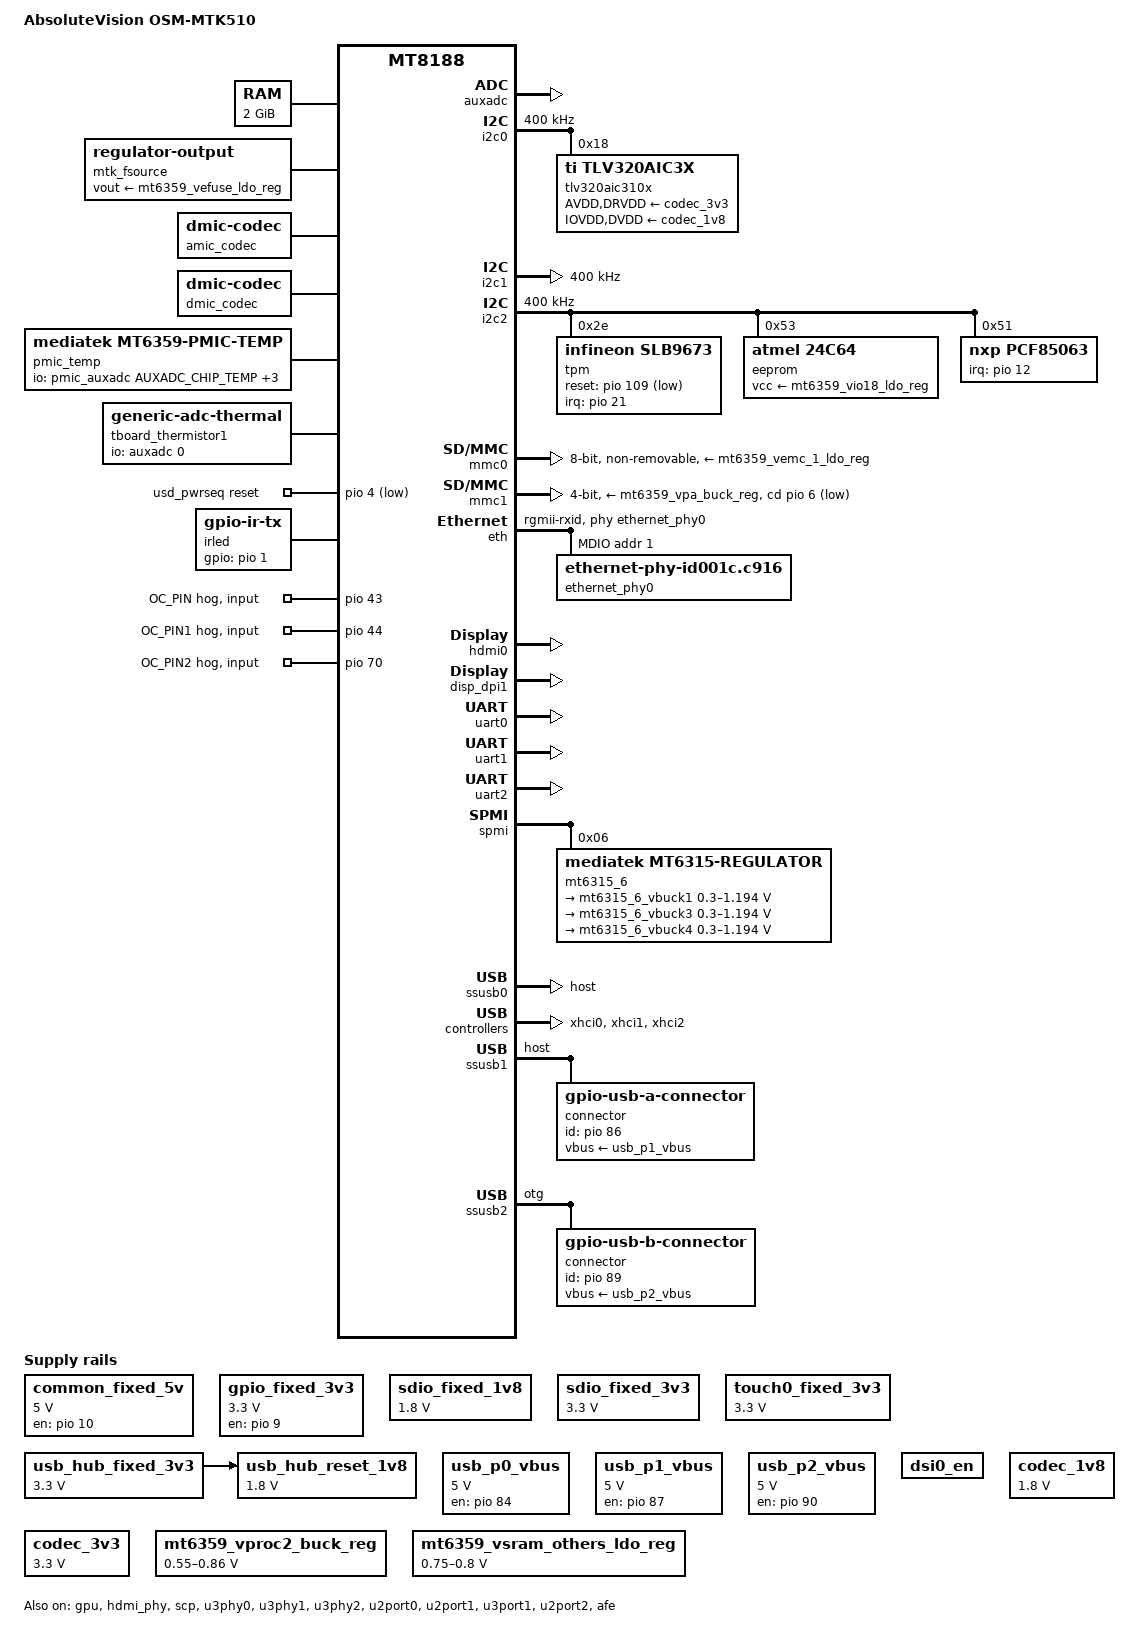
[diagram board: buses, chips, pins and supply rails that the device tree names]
// SPDX-License-Identifier: (GPL-2.0 OR MIT)
/*
 * Copyright (C) 2023 MediaTek Inc.
 * Author: Chris Chen <chris-qj.chen@mediatek.com>
 *	   Pablo Sun <pablo.sun@mediatek.com>
 *	   Macpaul Lin <macpaul.lin@mediatek.com>
 */
/dts-v1/;

#include "mt8370.dtsi"
#include "mt6359.dtsi"
#include <dt-bindings/gpio/gpio.h>
#include <dt-bindings/input/input.h>
#include <dt-bindings/interrupt-controller/irq.h>
#include <dt-bindings/pinctrl/mediatek,mt8188-pinfunc.h>
#include <dt-bindings/regulator/mediatek,mt6360-regulator.h>
#include <dt-bindings/spmi/spmi.h>
#include <dt-bindings/usb/pd.h>
#include <dt-bindings/iio/mt635x-auxadc.h>
#include <dt-bindings/net/ti-dp83867.h>

/ {
	model = "AbsoluteVision OSM-MTK510";
	compatible = "mediatek,mt8370-evk", "mediatek,mt8370",
		     "mediatek,mt8188";

	aliases {
		serial0 = &uart0;
		ethernet0 = &eth;
	        rtc0 = &pcf85063;
	        rtc1 = &mt6359rtc;
		dsi0 = &dsi0;
	};

	chosen {
		stdout-path = "serial0:921600n8";
	};

	firmware {
		optee {
			compatible = "linaro,optee-tz";
			method = "smc";
		};
	};

	memory@40000000 {
		device_type = "memory";
		reg = <0 0x40000000 0x0 0x80000000>;  //DDR 2G
	};

	reserved-memory {
		#address-cells = <2>;
		#size-cells = <2>;
		ranges;

		/*
		 * 12 MiB reserved for OP-TEE (BL32)
		 * +-----------------------+ 0x43e0_0000
		 * |      SHMEM 2MiB       |
		 * +-----------------------+ 0x43c0_0000
		 * |        | TA_RAM  8MiB |
		 * + TZDRAM +--------------+ 0x4340_0000
		 * |        | TEE_RAM 2MiB |
		 * +-----------------------+ 0x4320_0000
		 */
		optee_reserved: optee@43200000 {
			no-map;
			reg = <0 0x43200000 0 0x00c00000>;
		};

		scp_mem: memory@50000000 {
			compatible = "shared-dma-pool";
			reg = <0 0x50000000 0 0x2900000>;
			no-map;
		};

		/* 2 MiB reserved for ARM Trusted Firmware (BL31) */
		bl31_secmon_reserved: secmon@54600000 {
			no-map;
			reg = <0 0x54600000 0x0 0x200000>;
		};

		apu_mem: memory@55000000 {
			compatible = "shared-dma-pool";
			reg = <0 0x55000000 0 0x1400000>; /* 20 MB */
		};

		vpu_mem: memory@57000000 {
			compatible = "shared-dma-pool";
			reg = <0 0x57000000 0 0x1400000>; /* 20 MB */
		};

		/*
		 * 24 MiB reserved for Audio AFE and ADSP
		 * +-----------------------+ 0x6180_0000
		 * |  AFE DMA MEM     8MiB |
		 * +-----------------------+ 0x6100_0000
		 * |  ADSP DMA MEM    1MiB |
		 * +-----------------------+ 0x60f0_0000
		 * |  ADSP MEM       15MiB |
		 * +-----------------------+ 0x6000_0000
		 */

		adsp_mem_reserved: adsp-mem-region {
			compatible = "shared-dma-pool";
			reg = <0 0x60000000 0 0xf00000>;
			no-map;
		};

		adsp_dma_mem_reserved: adsp-dma-mem-region {
			compatible = "shared-dma-pool";
			reg = <0 0x60f00000 0 0x100000>;
			no-map;
		};

		afe_dma_mem_reserved: snd-dma-mem-region {
			compatible = "shared-dma-pool";
			reg = <0 0x61000000 0 0x800000>;
			no-map;
		};
	};

	common_fixed_5v: regulator-0 {
		compatible = "regulator-fixed";
		regulator-name = "5v_en";
		regulator-min-microvolt = <5000000>;
		regulator-max-microvolt = <5000000>;
		gpio = <&pio 10 GPIO_ACTIVE_HIGH>;
		enable-active-high;
		regulator-always-on;
	};

	gpio_fixed_3v3: regulator-2 {
		compatible = "regulator-fixed";
		regulator-name = "gpio_3v3_en";
		regulator-min-microvolt = <3300000>;
		regulator-max-microvolt = <3300000>;
		gpio = <&pio 9 GPIO_ACTIVE_HIGH>;
		enable-active-high;
		regulator-always-on;
	};

	sdio_fixed_1v8: regulator-3 {
		compatible = "regulator-fixed";
		regulator-name = "sdio_io";
		regulator-min-microvolt = <1800000>;
		regulator-max-microvolt = <1800000>;
		enable-active-high;
		regulator-always-on;
	};

	sdio_fixed_3v3: regulator-4 {
		compatible = "regulator-fixed";
		regulator-name = "sdio_card";
		regulator-min-microvolt = <3300000>;
		regulator-max-microvolt = <3300000>;
		enable-active-high;
		regulator-always-on;
	};

	mtk_fsource: mtk-fsource {
		compatible = "regulator-output";
		vout-supply = <&mt6359_vefuse_ldo_reg>;
	};

	touch0_fixed_3v3: regulator-5 {
		compatible = "regulator-fixed";
		regulator-name = "touch_3v3";
		regulator-min-microvolt = <3300000>;
		regulator-max-microvolt = <3300000>;
		enable-active-high;
	};

	usb_hub_fixed_3v3: regulator-6 {
		compatible = "regulator-fixed";
		regulator-name = "usb_hub_3v3";
		regulator-min-microvolt = <3300000>;
		regulator-max-microvolt = <3300000>;
		startup-delay-us = <10000>;
		enable-active-high;
	};

	usb_hub_reset_1v8: regulator-7 {
		compatible = "regulator-fixed";
		regulator-name = "usb_hub_reset";
		regulator-min-microvolt = <1800000>;
		regulator-max-microvolt = <1800000>;
		vin-supply = <&usb_hub_fixed_3v3>;
	};

	usb_p0_vbus: regulator-8 {
		compatible = "regulator-fixed";
		regulator-name = "usb_p0_vbus";
		regulator-min-microvolt = <5000000>;
		regulator-max-microvolt = <5000000>;
		gpio = <&pio 84 GPIO_ACTIVE_HIGH>;
		enable-active-high;
	};

	usb_p1_vbus: regulator-9 {
		compatible = "regulator-fixed";
		regulator-name = "usb_p1_vbus";
		regulator-min-microvolt = <5000000>;
		regulator-max-microvolt = <5000000>;
		gpio = <&pio 87 GPIO_ACTIVE_HIGH>;
		enable-active-high;
	};

	usb_p2_vbus: regulator-10 {
		compatible = "regulator-fixed";
		regulator-name = "usb_p2_vbus";
		regulator-min-microvolt = <5000000>;
		regulator-max-microvolt = <5000000>;
		gpio = <&pio 90 GPIO_ACTIVE_HIGH>;
		enable-active-high;
	};

	dsi0_en: dsi0-en {
		compatible = "regulator-fixed";
		regulator-name = "lcm1_en";
		enable-active-high;
	};

        codec_1v8: codec-1v8 {
                compatible = "regulator-fixed";
                regulator-name = "codec-1v8";
                regulator-min-microvolt = <1800000>;
                regulator-max-microvolt = <1800000>;
                regulator-boot-on;
                regulator-always-on;
                enable-active-high;
        };

        codec_3v3: codec-3v3 {
                compatible = "regulator-fixed";
                regulator-name = "codec-3v3";
                regulator-min-microvolt = <3300000>;
                regulator-max-microvolt = <3300000>;
                regulator-boot-on;
                regulator-always-on;
                enable-active-high;
        };

	amic_codec: amic-codec {
		#sound-dai-cells = <0>;
		compatible = "dmic-codec";
		num-channels = <2>;
		wakeup-delay-ms = <200>;
	};

	dmic_codec: dmic-codec {
		#sound-dai-cells = <0>;
		compatible = "dmic-codec";
		num-channels = <2>;
		wakeup-delay-ms = <30>;
	};

	pmic_temp: pmic-temp {
		compatible = "mediatek,mt6359-pmic-temp";
		io-channels =
			<&pmic_auxadc AUXADC_CHIP_TEMP>,
			<&pmic_auxadc AUXADC_VCORE_TEMP>,
			<&pmic_auxadc AUXADC_VPROC_TEMP>,
			<&pmic_auxadc AUXADC_VGPU_TEMP>;
		io-channel-names =
			"pmic_chip_temp",
			"pmic_buck1_temp",
			"pmic_buck2_temp",
			"pmic_buck3_temp";

		#thermal-sensor-cells = <1>;
		nvmem-cells = <&thermal_efuse_data1>;
		nvmem-cell-names = "e_data1";
	};

	tboard_thermistor1: tboard-thermistor1 {
		compatible = "generic-adc-thermal";
		#thermal-sensor-cells = <0>;
		io-channels = <&auxadc 0>;
		io-channel-names = "sensor-channel";
		temperature-lookup-table = <    (-5000) 985
						0 860
						5000 740
						10000 629
						15000 530
						20000 442
						25000 367
						30000 304
						35000 251
						40000 207
						45000 171
						50000 141
						55000 117
						60000 97
						65000 81
						70000 67
						75000 56
						80000 47
						85000 40
						90000 34
						95000 29
						100000 25
						105000 21
						110000 18
						115000 15
						120000 13
						125000 12>;
	};

	usd_pwrseq: usd-pwrseq {
        	compatible = "mmc-pwrseq-simple";
		status = "okay";
		pinctrl-names = "default";
		pinctrl-0 = <&usd_pins_pwrseq>;
		reset-gpios = <&pio 4 1>;
		post-power-on-delay-ms = <200>;
	};

    irled: irled {
        compatible = "gpio-ir-tx";
        gpios = <&pio 1 GPIO_ACTIVE_HIGH>;
    };

};

&efuse {
		/* Serial Number */
		sn_part0: efuse-c_dat0 {
			 reg = <0x510 0x4>;
		};

		sn_part1: efuse-c_dat1 {
			 reg = <0x514 0x4>;
		};
		/* MAC address */
		mac_part0: efuse-c_dat2 {
			 reg = <0x518 0x4>;
		};

		mac_part1: efuse-c_dat3 {
			 reg = <0x51c 0x4>;
		};
};

&thermal_zones {
	ap-ntc {
		polling-delay = <1000>; /* milliseconds */
		polling-delay-passive = <0>; /* milliseconds */
		thermal-sensors = <&tboard_thermistor1>;

		trips {
			ap_ntc_crit: ap-ntc-crit {
				temperature = <120000>;
				hysteresis = <2000>;
				type = "critical";
			};
		};
	};
	pmic-temp {
		polling-delay = <1000>; /* milliseconds */
		polling-delay-passive = <1000>; /* milliseconds */
		thermal-sensors = <&pmic_temp 0>;

		trips {
			pmic_temp_crit: pmic-temp-crit@0 {
				temperature = <130000>;
				hysteresis = <2000>;
				type = "critical";
			};
		};
	};
	pmic-vcore {
		polling-delay = <0>; /* milliseconds */
		polling-delay-passive = <0>; /* milliseconds */
		thermal-sensors = <&pmic_temp 1>;
		trips {
			pmic_vcore_crit: pmic-vcore-crit {
				temperature = <130000>;
				hysteresis = <2000>;
				type = "critical";
			};
		};
	};
	pmic-vproc {
		polling-delay = <0>; /* milliseconds */
		polling-delay-passive = <0>; /* milliseconds */
		thermal-sensors = <&pmic_temp 2>;
		trips {
			pmic_vproc_crit: pmic-vproc-crit {
				temperature = <130000>;
				hysteresis = <2000>;
				type = "critical";
			};
		};
	};
	pmic-vgpu {
		polling-delay = <0>; /* milliseconds */
		polling-delay-passive = <0>; /* milliseconds */
		thermal-sensors = <&pmic_temp 3>;
		trips {
			pmic_vgpu_crit: pmic-vgpu-crit {
				temperature = <130000>;
				hysteresis = <2000>;
				type = "critical";
			};
		};
	};
};

&auxadc {
	status = "okay";
};

&gpu {
	mali-supply = <&mt6359_vproc2_buck_reg>;
	status = "okay";
};

&i2c0 {
	pinctrl-names = "default";
	pinctrl-0 = <&i2c0_pin>;
	clock-frequency = <400000>;
	status = "okay";

	tlv320aic310x: tlv320aic310x@18 {
		compatible = "ti,tlv320aic3x";
		#sound-dai-cells = <0>;
		reg = <0x18>;
		AVDD-supply = <&codec_3v3>;
		IOVDD-supply = <&codec_1v8>;
		DRVDD-supply = <&codec_3v3>;
		DVDD-supply = <&codec_1v8>;
		status = "okay";
	};

};

&i2c1 {
	pinctrl-names = "default";
	pinctrl-0 = <&i2c1_pin>;
	clock-frequency = <400000>;
	status = "okay";
};

&i2c2 {
	pinctrl-names = "default";
	pinctrl-0 = <&i2c2_pin>;
	clock-frequency = <400000>;
	status = "okay";

    /* TPM - ST33TPHF2XI2C U1601 */
    st33tphf2xi2c@2e {
        #gpio-cells = <2>;
        #interrupt-cells = <2>;
        compatible = "infineon,slb9673";
        reg = <0x2e>;
        label = "tpm";
        pinctrl-names = "default";
        pinctrl-0 = <&tpm_pins>;
        interrupt-parent = <&pio>;
        interrupts = <21 IRQ_TYPE_LEVEL_LOW>;
        reset-gpio = <&pio 109 GPIO_ACTIVE_LOW>;
        status = "okay";
    };


	/* EEPROM M24C64 U1503 */
    eeprom: 24c64@53 {
		compatible = "atmel,24c64";
		reg = <0x53>;
		pagesize = <32>;
		vcc-supply = <&mt6359_vio18_ldo_reg>;
		/* mac_part0: mac-part0 { */
		/*       reg = <0x0 0x4>; */
		
	};

	/* PCF85063ATT U1701 */
	pcf85063: rtc@51 {
		compatible = "nxp,pcf85063";
		reg = <0x51>;
        	quartz-load-femtofarads = <12500>;
		interrupts-extended = <&pio 12 IRQ_TYPE_LEVEL_LOW>;
	};


};

&mfg0 {
	domain-supply = <&mt6359_vproc2_buck_reg>;
};

&mfg1 {
	domain-supply = <&mt6359_vsram_others_ldo_reg>;
};

&mmc0 {
	status = "okay";
	pinctrl-names = "default", "state_uhs";
	pinctrl-0 = <&mmc0_pins_default>;
	pinctrl-1 = <&mmc0_pins_uhs>;
	bus-width = <8>;
	max-frequency = <200000000>;
	cap-mmc-highspeed;
	mmc-hs200-1_8v;
	mmc-hs400-1_8v;
	supports-cqe;
	cap-mmc-hw-reset;
	no-sdio;
	no-sd;
	hs400-ds-delay = <0x1481b>;
	vmmc-supply = <&mt6359_vemc_1_ldo_reg>;
	vqmmc-supply = <&mt6359_vufs_ldo_reg>;
	non-removable;
};

&mmc1 {
	status = "okay";
	pinctrl-names = "default", "state_uhs";
	pinctrl-0 = <&mmc1_pins_default>;
	pinctrl-1 = <&mmc1_pins_uhs>;
	bus-width = <4>;
	max-frequency = <200000000>;
	cap-sd-highspeed;
	sd-uhs-sdr50;
	sd-uhs-sdr104;
	no-mmc;
	no-sdio;
	cd-gpios = <&pio 6 GPIO_ACTIVE_LOW>;
	mmc-pwrseq = <&usd_pwrseq>;
	vmmc-supply = <&mt6359_vpa_buck_reg>;
	vqmmc-supply = <&mt6359_vsim1_ldo_reg>;
};

&mt6359_vbbck_ldo_reg {
	regulator-always-on;
};

&mt6359_vcn18_ldo_reg {
	regulator-always-on;
};

&mt6359_vcn33_2_bt_ldo_reg {
	regulator-always-on;
};

&mt6359_vcore_buck_reg {
	regulator-always-on;
};

&mt6359_vgpu11_buck_reg {
	regulator-always-on;
};

&mt6359_vmodem_buck_reg {
	regulator-always-on;
};

&mt6359_vpa_buck_reg {
	regulator-max-microvolt = <3100000>;
};

&mt6359_vproc2_buck_reg {
	/* The name "vgpu" is required by mtk-regulator-coupler */
	regulator-name = "vgpu";
	regulator-min-microvolt = <550000>;
	regulator-max-microvolt = <860000>;
	regulator-coupled-with = <&mt6359_vsram_others_ldo_reg>;
	regulator-coupled-max-spread = <6250>;
};

&mt6359_vpu_buck_reg {
	regulator-always-on;
};

&mt6359_vrf12_ldo_reg {
	regulator-always-on;
};

&mt6359_vsim1_ldo_reg {
	regulator-enable-ramp-delay = <480>;
};

&mt6359_vsram_others_ldo_reg {
	/* The name "vsram_gpu" is required by mtk-regulator-coupler */
	regulator-name = "vsram_gpu";
	regulator-min-microvolt = <750000>;
	regulator-max-microvolt = <800000>;
	regulator-coupled-with = <&mt6359_vproc2_buck_reg>;
	regulator-coupled-max-spread = <6250>;
};

&mt6359_vsram_md_ldo_reg {
	regulator-always-on;
};

&mt6359_vufs_ldo_reg {
	regulator-always-on;
};

&mt6359codec {
	mediatek,mic-type-0 = <1>; /* ACC */
	mediatek,mic-type-1 = <3>; /* DCC */
};

&eth {
	phy-mode ="rgmii-rxid";
	phy-handle = <&ethernet_phy0>;
	/* snps,reset-gpio = <&pio 13 GPIO_ACTIVE_HIGH>; */
	/* snps,reset-delay-us = <0 10000 10000>; */
	mediatek,tx-delay-ps = <2030>;
	mediatek,mac-wol;
	pinctrl-names = "default", "sleep";
	pinctrl-0 = <&eth_default_pins>;
	pinctrl-1 = <&eth_sleep_pins>;
	nvmem-cells = <&mac_part0 &mac_part1>;
	nvmem-cell-names = "mac-part0", "mac-part1";
	status = "okay";

	mdio {
		compatible = "snps,dwmac-mdio";
		#address-cells = <1>;
		#size-cells = <0>;
		ethernet_phy0: ethernet-phy@1 {
			compatible = "ethernet-phy-id001c.c916";
			reg = <0x1>;
		};
	};
};
&dp_intf1 {
        status = "disabled";
        mediatek,oob-hpd;
        ports {
                port {
                        dp_intf1_out: endpoint {
                                remote-endpoint = <&dptx_in>;
                        };
                };
        };
};

&dp_tx {
        status = "disabled";

        ports {
                #address-cells = <1>;
                #size-cells = <0>;
                port@0 {
                        reg = <0>;
                        dptx_in: endpoint {
                                remote-endpoint = <&dp_intf1_out>;
                        };
                };

                port@1 {
                        reg = <1>;
                        dptx_out: endpoint {
                                data-lanes = <0 1 2 3>;
                        };
                };
        };
};


&dmic_codec {
	wakeup-delay-ms = <200>;
};

&hdmi0 {
	status = "okay";
};

&hdmi_phy {
	status = "okay";
};
&dsi0 {
        #address-cells = <1>;
        #size-cells = <0>;
        status = "disabled";
        poweron-in-hs-mode = <0>;

        panel@0 {
                compatible = "startek,kd070fhfid078";
                status = "disabled";
                reg = <0>;
                port {
                        panel0_in: endpoint {
                                remote-endpoint = <&dsi0_out>;
                        };
                };
        };

        ports {
                port {
                        dsi0_out: endpoint {
                                remote-endpoint = <&panel0_in>;
                        };
                };
        };
};

&disp_pwm1 {
        status = "disabled";
};

&disp_dpi1 {
        status = "okay";
};
&pio {
	oc_pin {
			gpio-hog;
			gpios = <43 GPIO_ACTIVE_HIGH>;
			input;
			bias-pull-up;
			line-name = "OC_PIN";
	};

	oc_pin1 {
			gpio-hog;
			gpios = <44 GPIO_ACTIVE_HIGH>;
			input;
			bias-pull-up;
			line-name = "OC_PIN1";
	};

	oc_pin2 {
			gpio-hog;
			gpios = <70 GPIO_ACTIVE_HIGH>;
			input;
			bias-pull-up;
			line-name = "OC_PIN2";
	};

	aud_pins_default: audiodefault {
		pins-cmd-dat {
			pinmux = <PINMUX_GPIO101__FUNC_O_AUD_CLK_MOSI>,
				 <PINMUX_GPIO102__FUNC_O_AUD_SYNC_MOSI>,
				 <PINMUX_GPIO103__FUNC_O_AUD_DAT_MOSI0>,
				 <PINMUX_GPIO104__FUNC_O_AUD_DAT_MOSI1>,
				 <PINMUX_GPIO105__FUNC_I0_AUD_DAT_MISO0>,
				 <PINMUX_GPIO106__FUNC_I0_AUD_DAT_MISO1>,
				 <PINMUX_GPIO110__FUNC_I0_I2SIN_D0>,
				 <PINMUX_GPIO114__FUNC_O_I2SO2_MCK>,
				 <PINMUX_GPIO115__FUNC_B0_I2SO2_BCK>,
				 <PINMUX_GPIO116__FUNC_B0_I2SO2_WS>,
				 <PINMUX_GPIO117__FUNC_O_I2SO2_D0>;
				
		};
	};

	eth_default_pins: eth-default-pins {			
		pins-txd {
			pinmux = <PINMUX_GPIO131__FUNC_O_GBE_TXD3>,
				 <PINMUX_GPIO132__FUNC_O_GBE_TXD2>,
				 <PINMUX_GPIO133__FUNC_O_GBE_TXD1>,
				 <PINMUX_GPIO134__FUNC_O_GBE_TXD0>;
			drive-strength = <MTK_DRIVE_8mA>;
		};
		pins-cc {
			pinmux = <PINMUX_GPIO139__FUNC_B0_GBE_TXC>,
				 <PINMUX_GPIO142__FUNC_O_GBE_TXEN>,
				 <PINMUX_GPIO141__FUNC_I0_GBE_RXDV>,
				 <PINMUX_GPIO140__FUNC_I0_GBE_RXC>;
			drive-strength = <MTK_DRIVE_8mA>;
		};
		pins-rxd {
			pinmux = <PINMUX_GPIO135__FUNC_I0_GBE_RXD3>,
				 <PINMUX_GPIO136__FUNC_I0_GBE_RXD2>,
				 <PINMUX_GPIO137__FUNC_I0_GBE_RXD1>,
				 <PINMUX_GPIO138__FUNC_I0_GBE_RXD0>;
			drive-strength = <MTK_DRIVE_8mA>;
		};
		pins-mdio {
			pinmux = <PINMUX_GPIO143__FUNC_O_GBE_MDC>,
				 <PINMUX_GPIO144__FUNC_B1_GBE_MDIO>;
			drive-strength = <MTK_DRIVE_8mA>;
			input-enable;
		};
		phy_reset_pin {									
			pinmux = <PINMUX_GPIO13__FUNC_B_GPIO13>; 
            output-high;
		};
		phy_intr_pin {									
			pinmux = <PINMUX_GPIO14__FUNC_B_GPIO14>;
		};
	};

	eth_sleep_pins: eth-sleep-pins {
		pins-txd {
			pinmux = <PINMUX_GPIO131__FUNC_B_GPIO131>,
				 <PINMUX_GPIO132__FUNC_B_GPIO132>,
				 <PINMUX_GPIO133__FUNC_B_GPIO133>,
				 <PINMUX_GPIO134__FUNC_B_GPIO134>;
		};
		pins-cc {
			pinmux = <PINMUX_GPIO139__FUNC_B_GPIO139>,
				 <PINMUX_GPIO142__FUNC_B_GPIO142>,
				 <PINMUX_GPIO141__FUNC_B_GPIO141>,
				 <PINMUX_GPIO140__FUNC_B_GPIO140>;
		};
		pins-rxd {
			pinmux = <PINMUX_GPIO135__FUNC_B_GPIO135>,
				 <PINMUX_GPIO136__FUNC_B_GPIO136>,
				 <PINMUX_GPIO137__FUNC_B_GPIO137>,
				 <PINMUX_GPIO138__FUNC_B_GPIO138>;
		};
		pins-mdio {
			pinmux = <PINMUX_GPIO143__FUNC_B_GPIO143>,
				 <PINMUX_GPIO144__FUNC_B_GPIO144>;
			input-disable;
			bias-disable;
		};
	};

	uart0_pins: uart0-pins {
		pins {
			pinmux = <PINMUX_GPIO31__FUNC_O_UTXD0>,
				 <PINMUX_GPIO32__FUNC_I1_URXD0>;
			bias-pull-up;
		};
	};

	uart1_pins: uart1-pins {
		pins {
			pinmux = <PINMUX_GPIO33__FUNC_O_UTXD1>,
				 <PINMUX_GPIO34__FUNC_I1_URXD1>;
			bias-pull-up;
		};
	};

    uart2_pins: uart2-pins {
        pins {
            pinmux = <PINMUX_GPIO35__FUNC_O_UTXD2>,
                 <PINMUX_GPIO36__FUNC_I1_URXD2>;
            bias-pull-up;
        };
    };

	i2c0_pin: i2c0-pin {
		pins-bus {
			pinmux = <PINMUX_GPIO56__FUNC_B1_SDA0>,
				 <PINMUX_GPIO55__FUNC_B1_SCL0>;
			bias-pull-up = <MTK_PULL_SET_RSEL_011>;
			mediatek,drive-strength-adv = <7>;
		};
	};

	i2c1_pin: i2c1-pin {
		pins-bus {
			pinmux = <PINMUX_GPIO58__FUNC_B1_SDA1>,
				 <PINMUX_GPIO57__FUNC_B1_SCL1>;
			bias-pull-up = <MTK_PULL_SET_RSEL_011>;
			mediatek,drive-strength-adv = <7>;
		};
	};

	i2c2_pin: i2c2-pin {
		pins-bus {
			pinmux = <PINMUX_GPIO60__FUNC_B1_SDA2>,
				 <PINMUX_GPIO59__FUNC_B1_SCL2>;
			bias-pull-up = <MTK_PULL_SET_RSEL_011>;
			mediatek,drive-strength-adv = <7>;
		};
	};

    tpm_pins: tpm-pins {
        pins-rst {
            pinmux = <PINMUX_GPIO109__FUNC_B_GPIO109>;
            output-high;
        };
        pins-intr {
            pinmux = <PINMUX_GPIO21__FUNC_B_GPIO21>;
            
        };
    };

	usd_pins_pwrseq: usdpwrseq {
		pins-usd-enable {
			pinmux = <PINMUX_GPIO4__FUNC_B_GPIO4>;
			output-low;
		};
	};

	mmc0_pins_default: mmc0default {
		pins-cmd-dat {
			pinmux = <PINMUX_GPIO161__FUNC_B1_MSDC0_DAT0>,
				 <PINMUX_GPIO160__FUNC_B1_MSDC0_DAT1>,
				 <PINMUX_GPIO159__FUNC_B1_MSDC0_DAT2>,
				 <PINMUX_GPIO158__FUNC_B1_MSDC0_DAT3>,
				 <PINMUX_GPIO154__FUNC_B1_MSDC0_DAT4>,
				 <PINMUX_GPIO153__FUNC_B1_MSDC0_DAT5>,
				 <PINMUX_GPIO152__FUNC_B1_MSDC0_DAT6>,
				 <PINMUX_GPIO151__FUNC_B1_MSDC0_DAT7>,
				 <PINMUX_GPIO156__FUNC_B1_MSDC0_CMD>;
			input-enable;
			drive-strength = <MTK_DRIVE_6mA>;
			bias-pull-up = <MTK_PUPD_SET_R1R0_01>;
		};

		pins-clk {
			pinmux = <PINMUX_GPIO157__FUNC_B1_MSDC0_CLK>;
			drive-strength = <MTK_DRIVE_6mA>;
			bias-pull-down = <MTK_PUPD_SET_R1R0_10>;
		};

		pins-rst {
			pinmux = <PINMUX_GPIO155__FUNC_O_MSDC0_RSTB>;
			drive-strength = <MTK_DRIVE_6mA>;
			bias-pull-up = <MTK_PUPD_SET_R1R0_01>;
		};
	};

	mmc0_pins_uhs: mmc0uhs{
		pins-cmd-dat {
			pinmux = <PINMUX_GPIO161__FUNC_B1_MSDC0_DAT0>,
				 <PINMUX_GPIO160__FUNC_B1_MSDC0_DAT1>,
				 <PINMUX_GPIO159__FUNC_B1_MSDC0_DAT2>,
				 <PINMUX_GPIO158__FUNC_B1_MSDC0_DAT3>,
				 <PINMUX_GPIO154__FUNC_B1_MSDC0_DAT4>,
				 <PINMUX_GPIO153__FUNC_B1_MSDC0_DAT5>,
				 <PINMUX_GPIO152__FUNC_B1_MSDC0_DAT6>,
				 <PINMUX_GPIO151__FUNC_B1_MSDC0_DAT7>,
				 <PINMUX_GPIO156__FUNC_B1_MSDC0_CMD>;
			input-enable;
			drive-strength = <MTK_DRIVE_8mA>;
			bias-pull-up = <MTK_PUPD_SET_R1R0_01>;
		};

		pins-clk {
			pinmux = <PINMUX_GPIO157__FUNC_B1_MSDC0_CLK>;
			drive-strength = <MTK_DRIVE_8mA>;
			bias-pull-down = <MTK_PUPD_SET_R1R0_10>;
		};

		pins-ds {
			pinmux = <PINMUX_GPIO162__FUNC_B0_MSDC0_DSL>;
			drive-strength = <MTK_DRIVE_8mA>;
			bias-pull-down = <MTK_PUPD_SET_R1R0_10>;
		};

		pins-rst {
			pinmux = <PINMUX_GPIO155__FUNC_O_MSDC0_RSTB>;
			drive-strength = <MTK_DRIVE_8mA>;
			bias-pull-up = <MTK_PUPD_SET_R1R0_01>;
		};
	};

	mmc1_pins_default: mmc1default {
		pins-cmd-dat {
			pinmux = <PINMUX_GPIO163__FUNC_B1_MSDC1_CMD>,
				 <PINMUX_GPIO165__FUNC_B1_MSDC1_DAT0>,
				 <PINMUX_GPIO166__FUNC_B1_MSDC1_DAT1>,
				 <PINMUX_GPIO167__FUNC_B1_MSDC1_DAT2>,
				 <PINMUX_GPIO168__FUNC_B1_MSDC1_DAT3>;
			input-enable;
			drive-strength = <MTK_DRIVE_10mA>;
			bias-pull-up = <MTK_PUPD_SET_R1R0_01>;
		};

		pins-clk {
			pinmux = <PINMUX_GPIO164__FUNC_B1_MSDC1_CLK>;
			drive-strength = <MTK_DRIVE_10mA>;
			bias-pull-down = <MTK_PUPD_SET_R1R0_10>;
		};

		pins-insert {
			pinmux = <PINMUX_GPIO6__FUNC_B_GPIO6>;
			bias-pull-up;
		};

		pins-wp {
			pinmux = <PINMUX_GPIO5__FUNC_B_GPIO5>;
			input-enable;
			bias-pull-up;
		};

	};

	mmc1_pins_uhs: mmc1uhs {
		pins-cmd-dat {
			pinmux = <PINMUX_GPIO163__FUNC_B1_MSDC1_CMD>,
				 <PINMUX_GPIO165__FUNC_B1_MSDC1_DAT0>,
				 <PINMUX_GPIO166__FUNC_B1_MSDC1_DAT1>,
				 <PINMUX_GPIO167__FUNC_B1_MSDC1_DAT2>,
				 <PINMUX_GPIO168__FUNC_B1_MSDC1_DAT3>;
			input-enable;
			drive-strength = <MTK_DRIVE_6mA>;
			bias-pull-up = <MTK_PUPD_SET_R1R0_01>;
		};

		pins-clk {
			pinmux = <PINMUX_GPIO164__FUNC_B1_MSDC1_CLK>;
			drive-strength = <MTK_DRIVE_6mA>;
			bias-pull-down = <MTK_PUPD_SET_R1R0_10>;
		};

	};

	usb_default: usbdefault {
		iddig-pin {
			pinmux = <PINMUX_GPIO83__FUNC_B_GPIO83>;
			input-enable;
			bias-pull-up;
		};

		vbus-pins {
			pinmux = <PINMUX_GPIO84__FUNC_O_USB_DRVVBUS>;
			output-high;
		};

		valid-pin {
			pinmux = <PINMUX_GPIO85__FUNC_I0_VBUSVALID>;
			input-enable;
			bias-pull-up;
		};

	};

	usb1_default: usbp1default {
		iddig-pin {
			pinmux = <PINMUX_GPIO86__FUNC_B_GPIO86>;
			input-enable;
			bias-pull-up;
		};

		vbus-pins {
			pinmux = <PINMUX_GPIO87__FUNC_O_USB_DRVVBUS_1P>;
			output-high;
		};
	
		valid_pin {
			pinmux = <PINMUX_GPIO88__FUNC_I0_VBUSVALID_1P>;
			input-enable;
			bias-pull-up;
		};

	};

	usb2_default: usbp2default {
		iddig-pin {
			pinmux = <PINMUX_GPIO89__FUNC_B_GPIO89>;
			input-enable;
			bias-pull-up;
		};

		vbus-pins {
			pinmux = <PINMUX_GPIO90__FUNC_O_USB_DRVVBUS_2P>;
			output-high;
		};

		valid-pin {
			pinmux = <PINMUX_GPIO91__FUNC_I0_VBUSVALID_2P>;
			input-enable;
			bias-pull-up;
		};

	};

};


&pmic {
	interrupt-parent = <&pio>;
	interrupts = <222 IRQ_TYPE_LEVEL_HIGH>;

	pmic_key: pmic-key {
		compatible = "mediatek,mt6359-keys";
		mediatek,long-press-mode = <1>;
		power-off-time-sec = <0>;

		power-key{
			linux,keycodes = <116>;
			wakeup-source;
		};

		home-key{
			linux,keycodes = <114>;
		};
	};
};

&scp {
	memory-region = <&scp_mem>;
	status = "okay";
	firmware-name = "mediatek/mt8188/scp.img";
};

&uart0 {
	pinctrl-0 = <&uart0_pins>;
	pinctrl-names = "default";
	status = "okay";
};

&uart1 {
	pinctrl-0 = <&uart1_pins>;
	pinctrl-names = "default";
	status = "okay";
};

&uart2 {
	pinctrl-0 = <&uart2_pins>;
	pinctrl-names = "default";
	status = "okay";
};

&mipi_tx0 {
	status = "disabled";
};


&spmi {
	#address-cells = <2>;
	#size-cells = <0>;

	mt6315_6: mt6315@6 {
		compatible = "mediatek,mt6315-regulator";
		reg = <0x6 SPMI_USID>;

		regulators {
			mt6315_6_vbuck1: vbuck1 {
				regulator-compatible = "vbuck1";
				regulator-name = "Vbcpu";
				regulator-min-microvolt = <300000>;
				regulator-max-microvolt = <1193750>;
				regulator-enable-ramp-delay = <256>;
				regulator-allowed-modes = <0 1 2>;
				regulator-always-on;
				mtk,combined-regulator = <2>;
			};
			mt6315_6_vbuck3: vbuck3 {
				regulator-compatible = "vbuck3";
				regulator-name = "Vdd2";
				regulator-min-microvolt = <300000>;
				regulator-max-microvolt = <1193750>;
				regulator-enable-ramp-delay = <256>;
				regulator-allowed-modes = <0 1 2>;
				regulator-always-on;
			};
			mt6315_6_vbuck4: vbuck4 {
				regulator-compatible = "vbuck4";
				regulator-name = "Vddq";
				regulator-min-microvolt = <300000>;
				regulator-max-microvolt = <1193750>;
				regulator-enable-ramp-delay = <256>;
				regulator-allowed-modes = <0 1 2>;
				regulator-always-on;
			};
		};
	};
};

&u3phy0 {
	status = "okay";
};

&u3phy1 {
	status = "okay";
};

&u3phy2 {
	status = "okay";
};

&ssusb0 {
	pinctrl-0 = <&usb_default>;
	pinctrl-names = "default";
	maximum-speed = "high-speed";
	usb-role-switch;
	dr_mode = "host";
	vusb33-supply = <&mt6359_vusb_ldo_reg>;
	status = "okay";
	wakeup-source;
};

&u2port0 {
	status = "okay";
};

&xhci0 {
	status = "okay";
	vusb33-supply = <&mt6359_vusb_ldo_reg>;
};

&ssusb1 {
	pinctrl-0 = <&usb1_default>;
	pinctrl-names = "default";
	vusb33-supply = <&mt6359_vusb_ldo_reg>;
	dr_mode = "host";
	status = "okay";
	wakeup-source;

	connector {
		compatible = "gpio-usb-a-connector", "usb-a-connector";
		type = "micro";
		id-gpios = <&pio 86 GPIO_ACTIVE_HIGH>;
		vbus-supply = <&usb_p1_vbus>;
	};
};

&u2port1 {
	status = "okay";
};

&u3port1 {
	status = "okay";
};

&xhci1 {
	status = "okay";
	vusb33-supply = <&mt6359_vusb_ldo_reg>;
};

&ssusb2 {
	pinctrl-0 = <&usb2_default>;
	pinctrl-names = "default";
	maximum-speed = "high-speed";
	usb-role-switch;
	dr_mode = "otg";
	vusb33-supply = <&mt6359_vusb_ldo_reg>;
	status = "okay";
	wakeup-source;

	connector {
		compatible = "gpio-usb-b-connector", "usb-b-connector";
		type = "micro";
		id-gpios = <&pio 89 GPIO_ACTIVE_HIGH>;
		vbus-supply = <&usb_p2_vbus>;
	};
};

&u2port2 {
	status = "okay";
};

&xhci2 {
	status = "okay";
	vusb33-supply = <&mt6359_vusb_ldo_reg>;
};

&cam_vcore {
	domain-supply = <&mt6359_vproc1_buck_reg>;
};

&img_vcore {
	domain-supply = <&mt6359_vproc1_buck_reg>;
};

&accdet {
	mediatek,eint-level-pol = <IRQ_TYPE_LEVEL_LOW>;
};

&afe {
	#sound-dai-cells = <0>;
	memory-region = <&afe_dma_mem_reserved>;
	mediatek,dmic-iir-on;
	mediatek,dmic-clk-mono;
	mediatek,etdm-out2-multi-pin-mode;
	status = "okay";
};

&adsp {
	memory-region = <&adsp_dma_mem_reserved>,
		<&adsp_mem_reserved>;
};

&sound {
	compatible = "mediatek,mt8188-mt6359";
	model = "mt8370-evk";
	pinctrl-names = "default";
	pinctrl-0 = <&aud_pins_default>;
	audio-routing =
		"Headphone", "Headphone L",
		"Headphone", "Headphone R",
		"AIN1", "Headset Mic",
		"DMIC_INPUT", "AP DMIC",
		"AP DMIC", "AUDGLB",
		"AP DMIC", "MIC_BIAS_0",
		"AP DMIC", "MIC_BIAS_2";
	status = "okay";

	dai-link-0 {
		sound-dai = <&afe>;
		link-name = "DL_SRC_BE";

		codec {
			sound-dai = <&pmic 0>, <&accdet>;
		};
	};

	dai-link-1 {
		sound-dai = <&afe>;
		link-name = "UL_SRC_BE";

		codec {
			sound-dai = <&pmic 0>, <&amic_codec>;
		};
	};

	dai-link-2 {
		sound-dai = <&afe>;
		link-name = "DMIC_BE";

		codec {
			sound-dai = <&dmic_codec>;
		};
	};

	dai-link-3 {
		sound-dai = <&afe>;
		link-name = "ETDM3_OUT_BE";
		status = "disabled";

		codec {
			sound-dai = <&hdmi0>;
		};
	};

	dai-link-4 {
		sound-dai = <&afe>;
	        link-name = "ETDM2_OUT_BE";
		status = "okay";

		codec {
			sound-dai = <&tlv320aic310x>;
		};
	};
};
